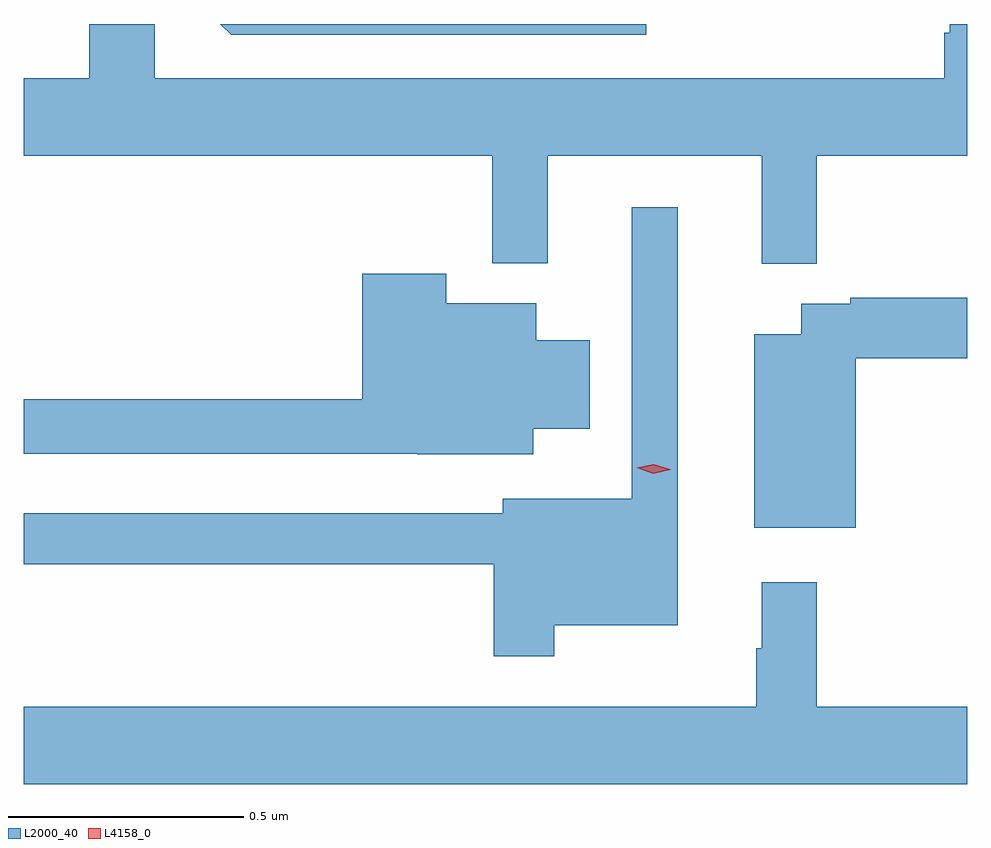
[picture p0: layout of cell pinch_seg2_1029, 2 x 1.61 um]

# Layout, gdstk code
import gdstk
lib = gdstk.Library(unit=1e-6, precision=1e-09)
def P(c, l, *ps):  # polygons
    for p in ps: c.add(gdstk.Polygon(p, *l))
L2000_40 = (2000, 40)
L4158_0 = (4158, 0)

pinch_seg2_1029 = lib.new_cell('pinch_seg2_1029')
P(pinch_seg2_1029, L2000_40, [(218.687,617),(219.006,617),(219.006,617.279),(218.969,617.279),(218.969,617.26),(218.957,617.26),(218.957,617.164),(217.284,617.164),(217.284,617.279),(217.145,617.279),(217.145,617.164),(217.006,617.164),(217.006,617),(217.999,617),(217.999,616.772),(218.117,616.772),(218.117,617),(218.57,617),(218.57,616.771),(218.687,616.771)],
  [(218.326,617.279),(217.423,617.279),(217.446,617.256),(218.326,617.256)],
  [(218.131,616.004),(218.392,616.004),(218.392,616.891),(218.295,616.891),(218.295,616.273),(218.021,616.273),(218.021,616.242),(217.006,616.242),(217.006,616.134),(218.002,616.134),(218.002,615.939),(218.131,615.939)],
  [(218.086,616.421),(218.206,616.421),(218.206,616.609),(218.092,616.609),(218.092,616.687),(217.902,616.687),(217.902,616.75),(217.724,616.75),(217.724,616.484),(217.006,616.484),(217.006,616.368),(217.84,616.368),(217.84,616.367),(218.086,616.367)],
  [(218.77,616.57),(219.006,616.57),(219.006,616.699),(218.758,616.699),(218.758,616.686),(218.654,616.686),(218.654,616.621),(218.555,616.621),(218.555,616.211),(218.77,616.211)],
  [(219.006,615.832),(218.687,615.832),(218.687,616.096),(218.57,616.096),(218.57,615.956),(218.559,615.956),(218.559,615.832),(217.006,615.832),(217.006,615.668),(219.006,615.668)])
P(pinch_seg2_1029, L4158_0, [(218.34,616.326),(218.305,616.338),(218.305,616.338),(218.305,616.338),(218.341,616.346),(218.376,616.335),(218.376,616.335),(218.376,616.334)])

lib.write_gds('pinch_seg2_1029.gds')
